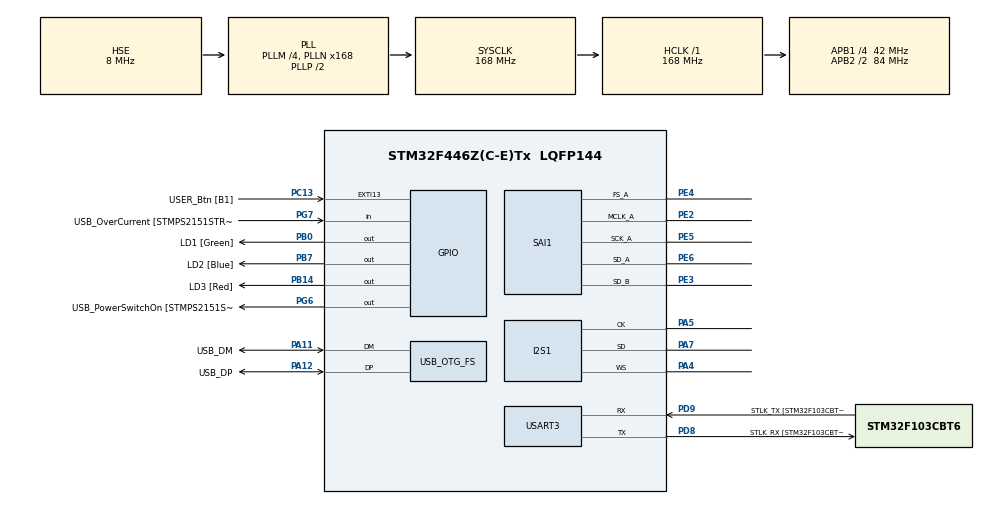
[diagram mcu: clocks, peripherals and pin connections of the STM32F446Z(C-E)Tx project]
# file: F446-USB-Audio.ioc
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Dma.Request0=SAI1_A
Dma.Request1=SAI1_B
Dma.Request2=SPI1_TX
Dma.SAI1_A.0.Direction=DMA_MEMORY_TO_PERIPH
Dma.SAI1_A.0.FIFOMode=DMA_FIFOMODE_DISABLE
Dma.SAI1_A.0.Instance=DMA2_Stream1
Dma.SAI1_A.0.MemDataAlignment=DMA_MDATAALIGN_HALFWORD
Dma.SAI1_A.0.MemInc=DMA_MINC_ENABLE
Dma.SAI1_A.0.Mode=DMA_CIRCULAR
Dma.SAI1_A.0.PeriphDataAlignment=DMA_PDATAALIGN_HALFWORD
Dma.SAI1_A.0.PeriphInc=DMA_PINC_DISABLE
Dma.SAI1_A.0.Priority=DMA_PRIORITY_HIGH
Dma.SAI1_B.1.Direction=DMA_PERIPH_TO_MEMORY
Dma.SAI1_B.1.FIFOMode=DMA_FIFOMODE_DISABLE
Dma.SAI1_B.1.Instance=DMA2_Stream4
Dma.SAI1_B.1.MemDataAlignment=DMA_MDATAALIGN_HALFWORD
Dma.SAI1_B.1.MemInc=DMA_MINC_ENABLE
Dma.SAI1_B.1.Mode=DMA_CIRCULAR
Dma.SAI1_B.1.PeriphDataAlignment=DMA_PDATAALIGN_HALFWORD
Dma.SAI1_B.1.PeriphInc=DMA_PINC_DISABLE
Dma.SAI1_B.1.Priority=DMA_PRIORITY_HIGH
Dma.SPI1_TX.2.Direction=DMA_MEMORY_TO_PERIPH
Dma.SPI1_TX.2.FIFOMode=DMA_FIFOMODE_ENABLE
Dma.SPI1_TX.2.FIFOThreshold=DMA_FIFO_THRESHOLD_FULL
Dma.SPI1_TX.2.Instance=DMA2_Stream3
Dma.SPI1_TX.2.MemBurst=DMA_MBURST_SINGLE
Dma.SPI1_TX.2.MemDataAlignment=DMA_MDATAALIGN_HALFWORD
Dma.SPI1_TX.2.MemInc=DMA_MINC_ENABLE
Dma.SPI1_TX.2.Mode=DMA_CIRCULAR
Dma.SPI1_TX.2.PeriphBurst=DMA_PBURST_SINGLE
Dma.SPI1_TX.2.PeriphDataAlignment=DMA_PDATAALIGN_HALFWORD
Dma.SPI1_TX.2.PeriphInc=DMA_PINC_DISABLE
Dma.SPI1_TX.2.Priority=DMA_PRIORITY_HIGH
I2S1.AudioFreq=I2S_AUDIOFREQ_96K
I2S1.ErrorAudioFreq=0.8 %
I2S1.FullDuplexMode=I2S_FULLDUPLEXMODE_DISABLE
I2S1.Instance=SPI$Index
I2S1.RealAudioFreq=96.774 KHz
I2S1.VirtualMode=I2S_MODE_MASTER
Mcu.Family=STM32F4
Mcu.Name=STM32F446Z(C-E)Tx
Mcu.Package=LQFP144
NVIC.DMA2_Stream1_IRQn=true\:0\:0\:false\:false\:true\:false\:true\:true
NVIC.DMA2_Stream3_IRQn=true\:0\:0\:false\:false\:true\:false\:true\:true
NVIC.DMA2_Stream4_IRQn=true\:0\:0\:false\:false\:true\:false\:true\:true
NVIC.OTG_FS_IRQn=true\:0\:0\:false\:false\:true\:false\:true\:true
NVIC.PriorityGroup=NVIC_PRIORITYGROUP_4
PA10.GPIO_Label=USB_ID
PA10.Signal=USB_OTG_FS_ID
PA11.GPIO_Label=USB_DM
PA11.Mode=Device_Only
PA11.Signal=USB_OTG_FS_DM
PA12.GPIO_Label=USB_DP
PA12.Mode=Device_Only
PA12.Signal=USB_OTG_FS_DP
PA13.GPIO_Label=TMS
PA13.Mode=Serial_Wire
PA13.Signal=SYS_JTMS-SWDIO
PA14.GPIO_Label=TCK
PA14.Mode=Serial_Wire
PA14.Signal=SYS_JTCK-SWCLK
PA4.Mode=Half_Duplex_Master
PA4.Signal=I2S1_WS
PA5.Mode=Half_Duplex_Master
PA5.Signal=I2S1_CK
PA7.Mode=Half_Duplex_Master
PA7.Signal=I2S1_SD
PA8.GPIO_Label=USB_SOF [TP1]
PA8.Signal=USB_OTG_FS_SOF
PA9.GPIO_Label=USB_VBUS
PA9.Signal=USB_OTG_FS_VBUS
PB0.GPIO_Label=LD1 [Green]
PB0.Signal=GPIO_Output
PB14.GPIO_Label=LD3 [Red]
PB14.Signal=GPIO_Output
PB7.GPIO_Label=LD2 [Blue]
PB7.Signal=GPIO_Output
PC13.GPIO_Label=USER_Btn [B1]
PC13.Signal=GPXTI13
PC14-OSC32_IN.Mode=LSE-External-Oscillator
PC14-OSC32_IN.Signal=RCC_OSC32_IN
PC15-OSC32_OUT.Mode=LSE-External-Oscillator
PC15-OSC32_OUT.Signal=RCC_OSC32_OUT
PD8.GPIO_Label=STLK_RX [STM32F103CBT6_PA3]
PD8.Mode=Asynchronous
PD8.Signal=USART3_TX
PD9.GPIO_Label=STLK_TX [STM32F103CBT6_PA2]
PD9.Mode=Asynchronous
PD9.Signal=USART3_RX
PE2.Mode=SAI_A_MasterWithClock
PE2.Signal=SAI1_MCLK_A
PE3.Mode=SAI_B_SyncSlave
PE3.Signal=SAI1_SD_B
PE4.Mode=SAI_A_MasterWithClock
PE4.Signal=SAI1_FS_A
PE5.Mode=SAI_A_MasterWithClock
PE5.Signal=SAI1_SCK_A
PE6.Mode=SAI_A_MasterWithClock
PE6.Signal=SAI1_SD_A
PG6.GPIO_Label=USB_PowerSwitchOn [STMPS2151STR_EN]
PG6.Signal=GPIO_Output
PG7.GPIO_Label=USB_OverCurrent [STMPS2151STR_FAULT]
PG7.Signal=GPIO_Input
PH0-OSC_IN.GPIO_Label=MCO [STM32F103CBT6_PA8]
PH0-OSC_IN.Mode=HSE-External-Clock-Source
PH0-OSC_IN.Signal=RCC_OSC_IN
PH1-OSC_OUT.Mode=HSE-External-Clock-Source
PH1-OSC_OUT.Signal=RCC_OSC_OUT
ProjectManager.HeapSize=0x4000
ProjectManager.StackSize=0x8000
ProjectManager.TargetToolchain=STM32CubeIDE
RCC.48MHZClocksFreq_Value=24000000
RCC.AHBFreq_Value=168000000
RCC.APB1CLKDivider=RCC_HCLK_DIV4
RCC.APB1Freq_Value=42000000
RCC.APB1TimFreq_Value=84000000
RCC.APB2CLKDivider=RCC_HCLK_DIV2
RCC.APB2Freq_Value=84000000
RCC.APB2TimFreq_Value=168000000
RCC.CortexFreq_Value=168000000
RCC.HCLKFreq_Value=168000000
RCC.HSE_VALUE=8000000
RCC.HSI_VALUE=16000000
RCC.PLLI2SM=8
RCC.PLLI2SQ=4
RCC.PLLM=4
RCC.PLLMUL=RCC_PLL_MUL9
RCC.PLLN=168
RCC.PLLQ=7
RCC.PLLSAIM=8
RCC.PLLSAIN=196
RCC.PRESCALERUSB=RCC_USBCLKSOURCE_PLL_DIV1_5
RCC.SYSCLKFreq_VALUE=168000000
RCC.SYSCLKSource=RCC_SYSCLKSOURCE_PLLCLK
RCC.SYSCLKSourceVirtual=RCC_SYSCLKSOURCE_PLLCLK
RCC.USBFreq_Value=48000000
RCC.VCOOutputFreq_Value=336000000
SAI1.AudioFrequency-SAI_A_MasterWithClock=SAI_AUDIO_FREQUENCY_96K
SAI1.ErrorAudioFreq-SAI_A_MasterWithClock=-0.3 %
SAI1.FIFOThreshold-SAI_B_SyncSlave=SAI_FIFOTHRESHOLD_1QF
SAI1.InitProtocol-SAI_A_MasterWithClock=Enable
SAI1.InitProtocol-SAI_B_SyncSlave=Enable
SAI1.Instance-SAI_A_MasterWithClock=SAI$Index_Block_A
SAI1.Instance-SAI_B_SyncSlave=SAI$Index_Block_B
SAI1.MClockEnable-SAI_A_MasterWithClock=SAI_MASTERCLOCK_ENABLE
SAI1.NoDivider-SAI_A_MasterWithClock=SAI_MASTERDIVIDER_ENABLE
SAI1.OutputDrive-SAI_A_MasterWithClock=SAI_OUTPUTDRIVE_ENABLE
SAI1.RealAudioFreq-SAI_A_MasterWithClock=95.703 KHz
SAI1.VirtualMode-SAI_A_MasterWithClock=VM_MASTER
SAI1.VirtualMode-SAI_B_SyncSlave=VM_SLAVE
SAI1.VirtualProtocol-SAI_A_BASIC=VM_BASIC_PROTOCOL
SAI1.VirtualProtocol-SAI_B_BASIC=VM_BASIC_PROTOCOL
USART3.VirtualMode=VM_ASYNC
USB_DEVICE.CLASS_NAME_FS=AUDIO
USB_DEVICE.MANUFACTURER_STRING-AUDIO_FS=LOOPTROTTER
USB_DEVICE.PRODUCT_STRING_AUDIO_FS=LOOPTROTTER DAC
USB_DEVICE.USBD_AUDIO_FREQ-AUDIO_FS=44100
USB_DEVICE.USBD_DEBUG_LEVEL-AUDIO_FS=2
USB_DEVICE.USBD_SELF_POWERED-AUDIO_FS=1
USB_DEVICE.VirtualMode-AUDIO_FS=Audio
USB_DEVICE.VirtualModeFS=Audio_FS
USB_OTG_FS.VirtualMode=Device_Only
VP_SAI1_VP_$IpInstance_SAIA_SAI_BASIC.Mode=SAI_A_BASIC
VP_SAI1_VP_$IpInstance_SAIB_SAI_BASIC.Mode=SAI_B_BASIC
VP_USB_DEVICE_VS_USB_DEVICE_AUDIO_FS.Mode=AUDIO_FS
board=NUCLEO-F446ZE

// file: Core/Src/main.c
/* USER CODE BEGIN Header */
/**
  ******************************************************************************
  * @file           : main.c
  * @brief          : Main program body
  ******************************************************************************
  * @attention
  *
  * Copyright (c) 2025 STMicroelectronics.
  * All rights reserved.
  *
  * This software is licensed under terms that can be found in the LICENSE file
  * in the root directory of this software component.
  * If no LICENSE file comes with this software, it is provided AS-IS.
  *
  ******************************************************************************
  */
/* USER CODE END Header */
#include "main.h"
#include "dma.h"
#include "i2s.h"
#include "sai.h"
#include "usart.h"
#include "usb_device.h"
#include "gpio.h"

/* USER CODE BEGIN Includes */
#include <math.h>
/* USER CODE END Includes */

/* USER CODE BEGIN PD */
extern void AUDIO_FeedbackUpdate_44100Hz(void);
/* USER CODE END PD */

/* USER CODE BEGIN PV */

//------------------------------ TON TESTOWY ------------------------------------------
#define SINE_BUFFER_SIZE   528               // Rozmiar bufora – możesz dostosować
#define FRAMES_COUNT       (SINE_BUFFER_SIZE / 2) // liczba ramek stereo
#define PI                 3.14159265358979323846
#define SINE_FREQ          500.0             // 800 Hz
#define SAMPLE_RATE        44100.0           // 44,1 kHz
#define AMPLITUDE          30000             // Amplituda 16-bitowa (maks. ~32767)

static int16_t sineBuffer[SINE_BUFFER_SIZE];

/* USER CODE END PV */

void SystemClock_Config(void);
void PeriphCommonClock_Config(void);
/* USER CODE BEGIN PFP */

void GenerateSineWave(void)
{
    /* W trybie stereo dla każdej ramki generujemy 1 próbkę (np. ten sam sygnał dla lewego i prawego kanału).
       Dlatego pętla przebiega od 0 do FRAMES_COUNT.
       W wyniku powstanie bufor o rozmiarze FRAMES_COUNT * 2 halfwordów.
       Faza zmienia się tylko raz na ramkę.
    */
    double phase = 0.0;
    double phaseIncrement = 2.0 * PI * SINE_FREQ / SAMPLE_RATE;
    for (int frame = 0; frame < FRAMES_COUNT; frame++)
    {
        int16_t sample = (int16_t)(AMPLITUDE * sin(phase));
        /* Ustaw tę samą próbkę dla obu kanałów */
        sineBuffer[frame * 2] = sample;     // lewy kanał
        sineBuffer[frame * 2 + 1] = sample; // prawy kanał

        phase += phaseIncrement;
        if (phase >= 2.0 * PI)
            phase -= 2.0 * PI;
    }
}

/* USER CODE END PFP */

int main(void)
{

  /* MCU Configuration--------------------------------------------------------*/

  /* Reset of all peripherals, Initializes the Flash interface and the Systick. */
  HAL_Init();

  /* Configure the system clock */
  SystemClock_Config();

  /* Configure the peripherals common clocks */
  PeriphCommonClock_Config();

  /* Initialize all configured peripherals */
  MX_GPIO_Init();
  MX_DMA_Init();
  MX_USART3_UART_Init();
  MX_USB_DEVICE_Init();
  MX_SAI1_Init();
  MX_I2S1_Init();
  /* USER CODE BEGIN 2 */
  printf("Test\n");

    GenerateSineWave();

    /* Zakładamy, że SAI1_BlockA i DMA zostały wcześniej zainicjalizowane.
       Funkcja HAL_SAI_Transmit_DMA uruchamia transmisję bufora w trybie circular,
       więc sinusoidalne próbki będą odtwarzane ciągle. */
    //HAL_SAI_Transmit_DMA(&hsai_BlockA1, (uint8_t *)sineBuffer, SINE_BUFFER_SIZE);
    //HAL_I2S_Transmit_DMA(&hi2s1, (uint16_t *)sineBuffer, SINE_BUFFER_SIZE);

  /* USER CODE END 2 */

  /* Infinite loop */
  while (1)
  {

  }
}

void SystemClock_Config(void)
{
  RCC_OscInitTypeDef RCC_OscInitStruct = {0};
  RCC_ClkInitTypeDef RCC_ClkInitStruct = {0};

  /** Configure the main internal regulator output voltage
  */
  __HAL_RCC_PWR_CLK_ENABLE();
  __HAL_PWR_VOLTAGESCALING_CONFIG(PWR_REGULATOR_VOLTAGE_SCALE1);

  /** Initializes the RCC Oscillators according to the specified parameters
  * in the RCC_OscInitTypeDef structure.
  */
  RCC_OscInitStruct.OscillatorType = RCC_OSCILLATORTYPE_HSE;
  RCC_OscInitStruct.HSEState = RCC_HSE_BYPASS;
  RCC_OscInitStruct.PLL.PLLState = RCC_PLL_ON;
  RCC_OscInitStruct.PLL.PLLSource = RCC_PLLSOURCE_HSE;
  RCC_OscInitStruct.PLL.PLLM = 4;
  RCC_OscInitStruct.PLL.PLLN = 168;
  RCC_OscInitStruct.PLL.PLLP = RCC_PLLP_DIV2;
  RCC_OscInitStruct.PLL.PLLQ = 7;
  RCC_OscInitStruct.PLL.PLLR = 2;
  if (HAL_RCC_OscConfig(&RCC_OscInitStruct) != HAL_OK)
  {
    Error_Handler();
  }

  /** Initializes the CPU, AHB and APB buses clocks
  */
  RCC_ClkInitStruct.ClockType = RCC_CLOCKTYPE_HCLK|RCC_CLOCKTYPE_SYSCLK
                              |RCC_CLOCKTYPE_PCLK1|RCC_CLOCKTYPE_PCLK2;
  RCC_ClkInitStruct.SYSCLKSource = RCC_SYSCLKSOURCE_PLLCLK;
  RCC_ClkInitStruct.AHBCLKDivider = RCC_SYSCLK_DIV1;
  RCC_ClkInitStruct.APB1CLKDivider = RCC_HCLK_DIV4;
  RCC_ClkInitStruct.APB2CLKDivider = RCC_HCLK_DIV2;

  if (HAL_RCC_ClockConfig(&RCC_ClkInitStruct, FLASH_LATENCY_5) != HAL_OK)
  {
    Error_Handler();
  }
}

void PeriphCommonClock_Config(void)
{
  RCC_PeriphCLKInitTypeDef PeriphClkInitStruct = {0};

  /** Initializes the peripherals clock
  */
  PeriphClkInitStruct.PeriphClockSelection = RCC_PERIPHCLK_SAI1;
  PeriphClkInitStruct.PLLSAI.PLLSAIM = 8;
  PeriphClkInitStruct.PLLSAI.PLLSAIN = 196;
  PeriphClkInitStruct.PLLSAI.PLLSAIQ = 2;
  PeriphClkInitStruct.PLLSAI.PLLSAIP = RCC_PLLSAIP_DIV2;
  PeriphClkInitStruct.PLLSAIDivQ = 1;
  PeriphClkInitStruct.Sai1ClockSelection = RCC_SAI1CLKSOURCE_PLLSAI;
  if (HAL_RCCEx_PeriphCLKConfig(&PeriphClkInitStruct) != HAL_OK)
  {
    Error_Handler();
  }
}

/* USER CODE BEGIN 4 */

void HAL_SYSTICK_Callback(void)
{

}

int __io_putchar(int ch)
{
    if (ch == '\n') {
        uint8_t ch2 = '\r';
        HAL_UART_Transmit(&huart3, &ch2, 1, HAL_MAX_DELAY);
    }
    HAL_UART_Transmit(&huart3, (uint8_t*)&ch, 1, HAL_MAX_DELAY);
    return 1;
}

/* USER CODE END 4 */

void Error_Handler(void)
{
  __disable_irq();
  while (1)
  {
  }
}
